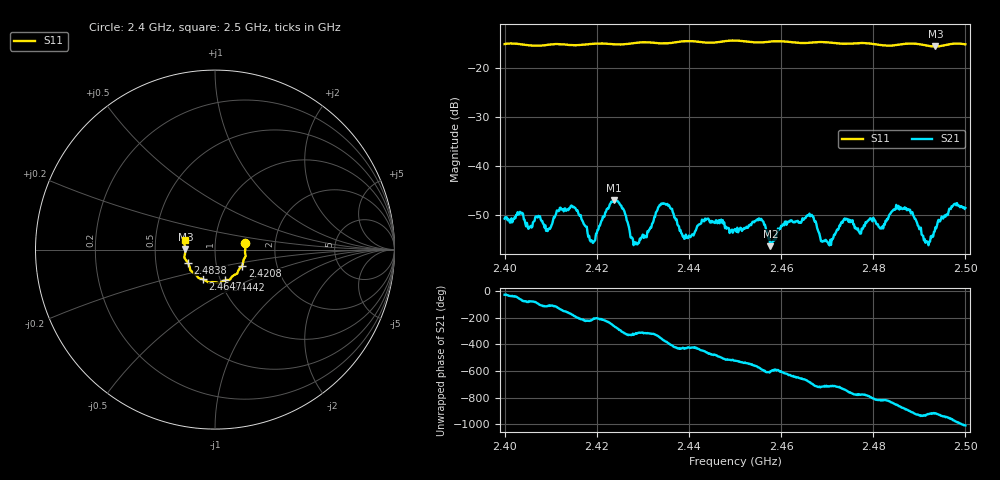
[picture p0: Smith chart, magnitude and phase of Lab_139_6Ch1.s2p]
# Hz S RI R 50
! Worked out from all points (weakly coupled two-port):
!   601 points, 2.4 GHz to 2.5 GHz, reference 50 ohm
!   highest |S21| = -47.06 dB at 2.4237 GHz (marker M1); lowest = -56.5 dB at 2.4577 GHz (marker M2)
!   lowest |S11| = -15.7 dB at 2.4935 GHz (marker M3), VSWR 1.39, Z = 35.9 + j0.152 ohm
!   |S11| at or under -10 dB: start of sweep to end of sweep
!   S12 and S22 are empty: the file has one direction only
!   S11 on the Smith chart (normalised r, x): 2.4 GHz: 1.40, +0.11; 2.4208 GHz: 1.33, -0.25; 2.4442 GHz: 1.05, -0.37; 2.4647 GHz: 0.83, -0.28; 2.4838 GHz: 0.73, -0.11; 2.5 GHz: 0.71, +0.08
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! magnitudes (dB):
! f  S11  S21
! 2.4 GHz  -15.2  -50.8
! 2.4167 GHz  -15.3  -50.9
! 2.419 GHz  -15.1  -55.4
! 2.4208 GHz  -15.1  -51.8
! 2.4237 GHz  -15.2  -47.1
! 2.4285 GHz  -14.9  -56.1
! 2.4333 GHz  -15.0  -48.5
! 2.4393 GHz  -14.6  -54.1
! 2.4442 GHz  -14.9  -50.8
! 2.45 GHz  -14.4  -53.0
! 2.4557 GHz  -14.8  -50.9
! 2.4577 GHz  -14.7  -56.5
! 2.4647 GHz  -15.0  -50.8
! 2.4667 GHz  -14.9  -50.1
! 2.4703 GHz  -14.8  -56.1
! 2.474 GHz  -15.1  -51.1
! 2.4833 GHz  -15.5  -50.5
! 2.4838 GHz  -15.5  -49.6
! 2.488 GHz  -15.1  -49.0
! 2.4915 GHz  -15.5  -55.4
! 2.4935 GHz  -15.7  -52.6
! 2.5 GHz  -15.2  -48.6
